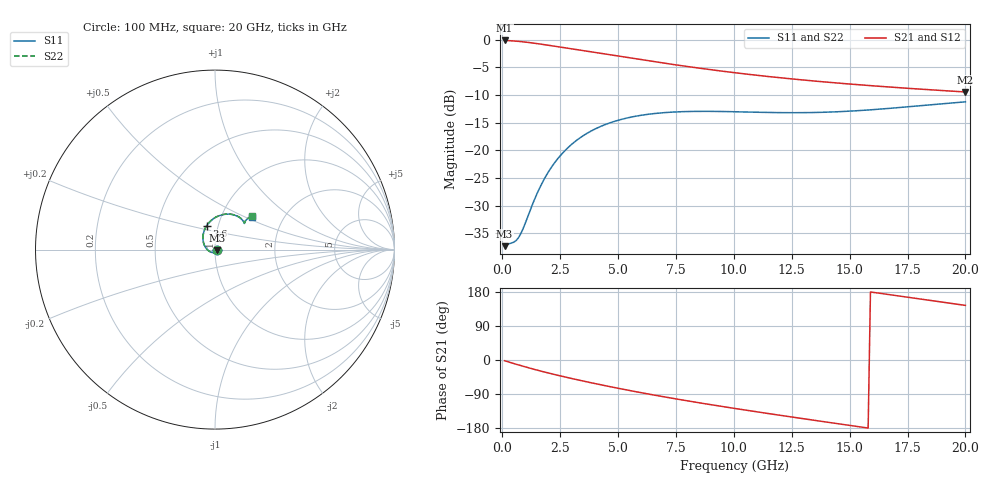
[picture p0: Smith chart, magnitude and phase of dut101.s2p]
! Touchstone file exported from HFSS 2024.1.0
!  File:  C:/UserFiles/LocalFiles/RDL_TSV_Batchsim/temp_RDL_TSV_101_1779419830.aedt
!  Generated:  11:29:46 AM May 22, 2026
!  Design:  RDL_TSV
!  Project:  temp_RDL_TSV_101_1779419830
!  Setup:  Setup1
!  Solution:  Sweep
! Variables:
!  dtsv = 11.97um
!  hbump = 3um
!  htsv = 74.04um
!  ldown = 551.83um
!  lrdl = 369.11um
!  p = 40
!  p1 = 46.87um
!  rhole = 10um
!  subl = 3131.93um
!  t = 450um
!  tdown = 3.08um
!  trdl = 3.88um
!  viad = 10um
!  wdown = 27.47um
!  wrdl = 22.79um
!  xbump = 18um
# GHz S MA R 50.000000
! Terminal data exported
! Port[1] = TM1_1_T1
! Port[2] = TM1_4_T1
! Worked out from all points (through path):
!   200 points, 100 MHz to 20 GHz, reference 50 ohm
!   highest |S21| = -0.12 dB at 100 MHz (marker M1); lowest = -9.4 dB at 20 GHz (marker M2)
!   group delay of S21, straight-line fit = 28.4 ps
!   lowest |S11| = -37.3 dB at 100 MHz (marker M3), VSWR 1.03, Z = 51.4 - j0.211 ohm
!   |S11| at or under -10 dB: start of sweep to end of sweep
!   |S22| runs from -37.3 to -11.2 dB; largest |S21 - S12| = 1.5e-14
!   S11 on the Smith chart (normalised r, x): 100 MHz: 1.03, -0.00; 3.6 GHz: 0.88, +0.24; 20 GHz: 1.39, +0.55
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0.1  0.01359 -8.7  0.9859 -2.0  0.9859 -2.0  0.01359 -8.7
! Gamma 0 0 0 0
! Port Impedance 50 0 50 0
0.5  0.01478 -60.8  0.9753 -9.4  0.9753 -9.4  0.01477 -60.9
0.7  0.01622 -91.7  0.9675 -13.0  0.9675 -13.0  0.01621 -91.8
0.9  0.01963 -120.4  0.9582 -16.6  0.9582 -16.6  0.01963 -120.5
1.4  0.03629 -169.5  0.9299 -25.0  0.9299 -25.0  0.03636 -169.6
1.7  0.04968 171.9  0.911 -29.8  0.911 -29.8  0.0498 171.8
2.1  0.06923 153.3  0.885 -36.0  0.885 -36.0  0.06943 153.2
2.5  0.08928 138.7  0.8591 -41.9  0.8591 -41.9  0.08957 138.6
3  0.1136 123.9  0.8275 -48.9  0.8275 -48.9  0.114 123.9
3.5  0.1359 111.8  0.7969 -55.6  0.7969 -55.6  0.1364 111.7
3.6  0.1401 109.6  0.791 -57.0  0.791 -57.0  0.1406 109.5
4.3  0.1663 96.0  0.7504 -66.0  0.7504 -66.0  0.1669 95.9
5  0.187 84.8  0.7118 -74.6  0.7118 -74.6  0.1877 84.8
5.9  0.2059 73.1  0.6654 -85.2  0.6654 -85.2  0.2068 73.1
6.8  0.2176 63.9  0.6229 -95.2  0.6229 -95.2  0.2185 63.9
8.4  0.2251 52.2  0.5576 -111.9  0.5576 -111.9  0.2261 52.2
10.1  0.2232 45.0  0.5018 -128.4  0.5018 -128.4  0.2242 45.0
11.7  0.2197 42.2  0.4602 -143.2  0.4602 -143.2  0.2205 42.1
13.4  0.2198 41.9  0.4249 -158.5  0.4249 -158.5  0.2205 41.9
15  0.2261 42.8  0.3979 -172.6  0.3979 -172.6  0.2269 42.8
16.7  0.2395 43.6  0.374 172.6  0.374 172.6  0.2403 43.6
20  0.2746 42.0  0.3373 144.1  0.3373 144.1  0.2758 42.1
